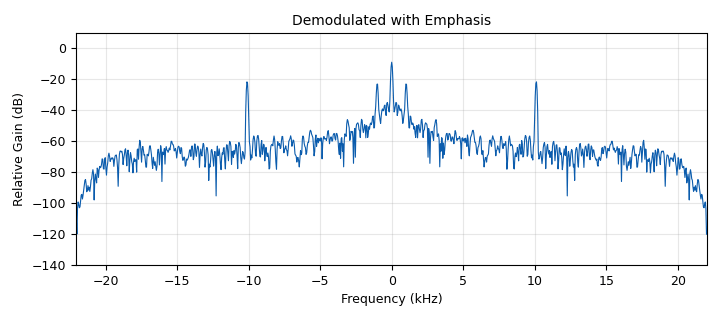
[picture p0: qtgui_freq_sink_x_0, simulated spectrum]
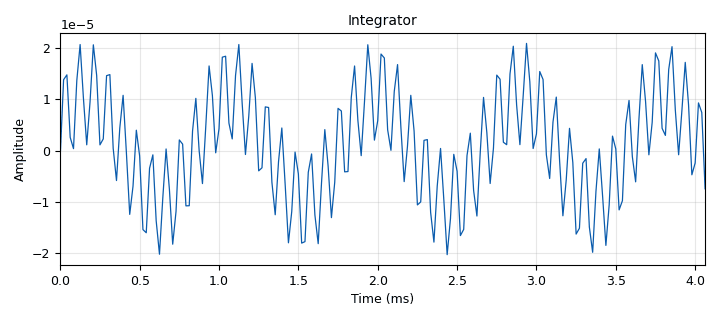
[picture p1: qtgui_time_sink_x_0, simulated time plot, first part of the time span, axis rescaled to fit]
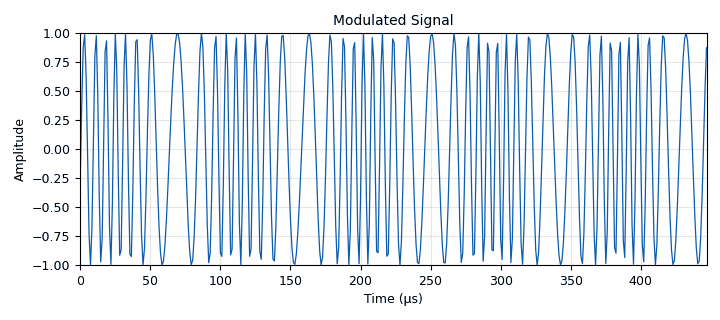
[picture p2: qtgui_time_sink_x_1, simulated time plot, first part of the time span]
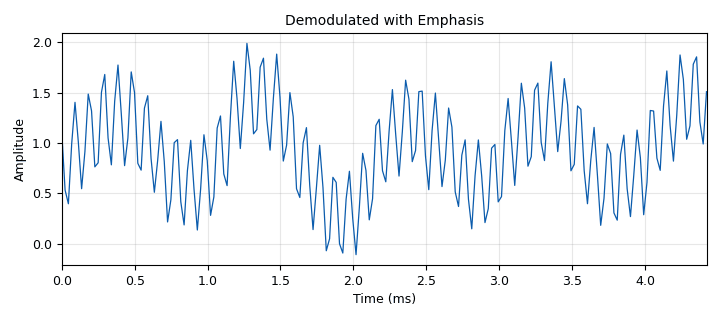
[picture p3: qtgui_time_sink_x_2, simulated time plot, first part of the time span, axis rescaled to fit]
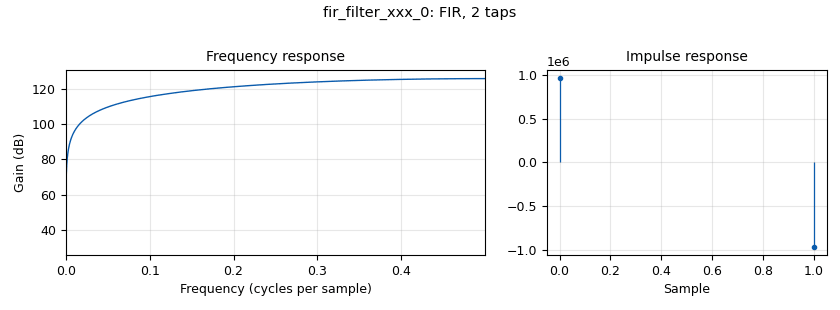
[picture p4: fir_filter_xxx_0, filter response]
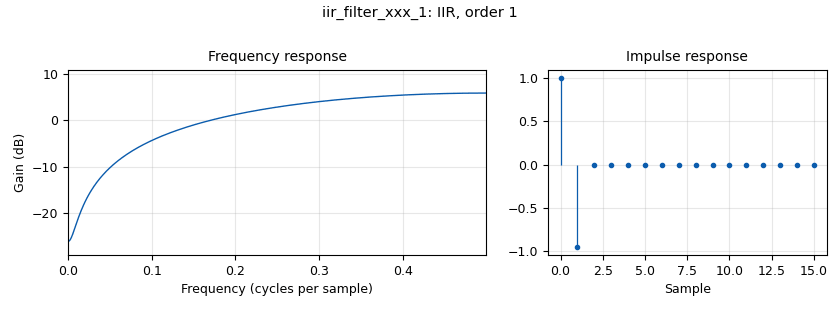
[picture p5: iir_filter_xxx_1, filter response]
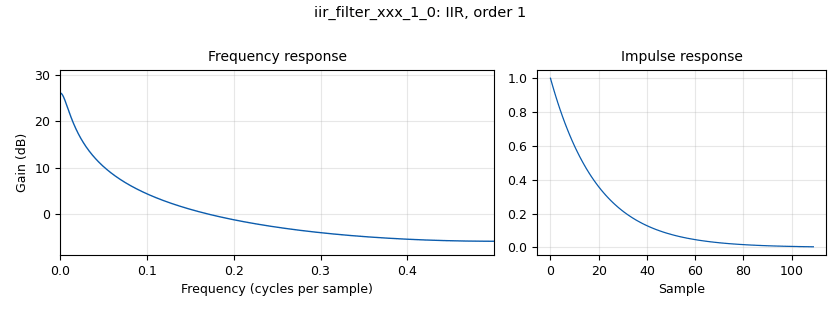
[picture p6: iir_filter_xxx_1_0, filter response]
options:
  parameters:
    generate_options: qt_gui
    id: Lab4_1
    output_language: python
    title: Not titled yet
  states: {}

blocks:
- name: samp_rate
  id: variable
  parameters:
    value: '48000'
  states: {}
- name: analog_noise_source_x_0
  id: analog_noise_source_x
  parameters:
    amp: '0.2'
    noise_type: analog.GR_GAUSSIAN
    seed: '0'
    type: complex
  states: {}
- name: analog_phase_modulator_fc_0
  id: analog_phase_modulator_fc
  parameters:
    sensitivity: 75000*2*3.14
  states: {}
- name: analog_sig_source_x_0
  id: analog_sig_source_x
  parameters:
    amp: '0.5'
    freq: '11000'
    offset: '0'
    phase: '0'
    samp_rate: samp_rate
    type: float
    waveform: analog.GR_COS_WAVE
  states: {}
- name: analog_sig_source_x_1
  id: analog_sig_source_x
  parameters:
    amp: '0.5'
    freq: '1100'
    offset: '0'
    phase: '0'
    samp_rate: samp_rate
    type: float
    waveform: analog.GR_COS_WAVE
  states: {}
- name: analog_sig_source_x_2
  id: analog_sig_source_x
  parameters:
    amp: '1'
    freq: '100000'
    offset: '0'
    phase: '0'
    samp_rate: '960000'
    type: complex
    waveform: analog.GR_COS_WAVE
  states: {}
- name: blocks_add_const_vxx_0
  id: blocks_add_const_vxx
  parameters:
    const: '-2*3.14*100000'
    type: float
  states: {}
- name: blocks_add_xx_0
  id: blocks_add_xx
  parameters:
    type: float
  states: {}
- name: blocks_add_xx_1
  id: blocks_add_xx
  parameters:
    type: complex
  states: {}
- name: blocks_complex_to_mag_0
  id: blocks_complex_to_mag
  parameters: {}
  states: {}
- name: blocks_complex_to_real_0
  id: blocks_complex_to_real
  parameters: {}
  states: {}
- name: blocks_multiply_const_vxx_0
  id: blocks_multiply_const_vxx
  parameters:
    const: 1/(2*3.14*75000)
    type: float
  states: {}
- name: blocks_multiply_xx_0
  id: blocks_multiply_xx
  parameters:
    type: complex
  states: {}
- name: blocks_throttle_0
  id: blocks_throttle
  parameters:
    samples_per_second: samp_rate
    type: complex
  states: {}
- name: fir_filter_xxx_0
  id: fir_filter_xxx
  parameters:
    decim: '1'
    taps: '[960000,  -960000]'
    type: ccf
  states: {}
- name: iir_filter_xxx_0
  id: iir_filter_xxx
  parameters:
    fbtaps: '[1, 1]'
    fftaps: 1/48000
    type: ffd
  states: {}
- name: iir_filter_xxx_1
  id: iir_filter_xxx
  parameters:
    fbtaps: '[1]'
    fftaps: '[1, -0.95]'
    type: ffd
  states: {}
- name: iir_filter_xxx_1_0
  id: iir_filter_xxx
  parameters:
    fbtaps: '[1, 0.95]'
    fftaps: '[1]'
    type: ffd
  states: {}
- name: qtgui_freq_sink_x_0
  id: qtgui_freq_sink_x
  parameters:
    bw: '44100'
    fc: '0'
    fftsize: '1024'
    gui_hint: tab@1
    name: '"Demodulated with Emphasis"'
    type: float
  states: {}
- name: qtgui_time_sink_x_0
  id: qtgui_time_sink_x
  parameters:
    gui_hint: tab@0
    name: '"Integrator"'
    size: '1024'
    srate: samp_rate
    type: float
  states: {}
- name: qtgui_time_sink_x_1
  id: qtgui_time_sink_x
  parameters:
    gui_hint: tab@0
    name: '"Modulated Signal"'
    size: '1024'
    srate: '960000'
    type: float
  states: {}
- name: qtgui_time_sink_x_2
  id: qtgui_time_sink_x
  parameters:
    gui_hint: tab@1
    name: '"Demodulated with Emphasis"'
    size: '1024'
    srate: '44100'
    type: float
  states: {}
- name: rational_resampler_xxx_0
  id: rational_resampler_xxx
  parameters:
    decim: '48000'
    interp: '960000'
    type: fff
  states: {}
- name: rational_resampler_xxx_1
  id: rational_resampler_xxx
  parameters:
    decim: '960000'
    interp: '48000'
    type: fff
  states: {}
- name: tab
  id: qtgui_tab_widget
  parameters:
    label0: Modulated
    label1: Demodulated
    num_tabs: '2'
  states: {}

connections:
- [analog_noise_source_x_0, '0', blocks_add_xx_1, '1']
- [analog_phase_modulator_fc_0, '0', blocks_multiply_xx_0, '0']
- [analog_sig_source_x_0, '0', blocks_add_xx_0, '1']
- [analog_sig_source_x_1, '0', blocks_add_xx_0, '0']
- [analog_sig_source_x_2, '0', blocks_multiply_xx_0, '1']
- [blocks_add_const_vxx_0, '0', blocks_multiply_const_vxx_0, '0']
- [blocks_add_xx_0, '0', iir_filter_xxx_1, '0']
- [blocks_add_xx_1, '0', fir_filter_xxx_0, '0']
- [blocks_complex_to_mag_0, '0', blocks_add_const_vxx_0, '0']
- [blocks_complex_to_real_0, '0', qtgui_time_sink_x_1, '0']
- [blocks_multiply_const_vxx_0, '0', rational_resampler_xxx_1, '0']
- [blocks_multiply_xx_0, '0', blocks_complex_to_real_0, '0']
- [blocks_multiply_xx_0, '0', blocks_throttle_0, '0']
- [blocks_throttle_0, '0', blocks_add_xx_1, '0']
- [fir_filter_xxx_0, '0', blocks_complex_to_mag_0, '0']
- [iir_filter_xxx_0, '0', qtgui_time_sink_x_0, '0']
- [iir_filter_xxx_0, '0', rational_resampler_xxx_0, '0']
- [iir_filter_xxx_1, '0', iir_filter_xxx_0, '0']
- [iir_filter_xxx_1_0, '0', qtgui_freq_sink_x_0, '0']
- [iir_filter_xxx_1_0, '0', qtgui_time_sink_x_2, '0']
- [rational_resampler_xxx_0, '0', analog_phase_modulator_fc_0, '0']
- [rational_resampler_xxx_1, '0', iir_filter_xxx_1_0, '0']

metadata:
  file_format: 1
  grc_version: 3.9.8.0-rc1
